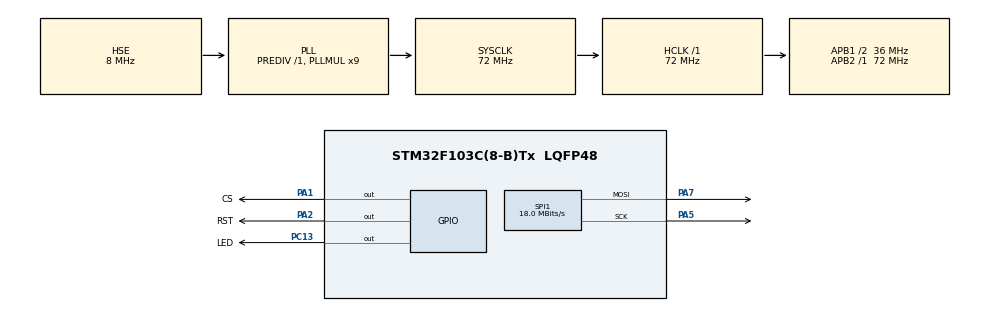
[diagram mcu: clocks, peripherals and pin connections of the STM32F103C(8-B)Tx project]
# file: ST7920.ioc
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Dma.Request0=SPI1_TX
Dma.SPI1_TX.0.Direction=DMA_MEMORY_TO_PERIPH
Dma.SPI1_TX.0.Instance=DMA1_Channel3
Dma.SPI1_TX.0.MemDataAlignment=DMA_MDATAALIGN_BYTE
Dma.SPI1_TX.0.MemInc=DMA_MINC_ENABLE
Dma.SPI1_TX.0.Mode=DMA_NORMAL
Dma.SPI1_TX.0.PeriphDataAlignment=DMA_PDATAALIGN_BYTE
Dma.SPI1_TX.0.PeriphInc=DMA_PINC_DISABLE
Dma.SPI1_TX.0.Priority=DMA_PRIORITY_VERY_HIGH
Mcu.Family=STM32F1
Mcu.Name=STM32F103C(8-B)Tx
Mcu.Package=LQFP48
NVIC.DMA1_Channel3_IRQn=true\:0\:0\:false\:false\:true\:false\:true
NVIC.PriorityGroup=NVIC_PRIORITYGROUP_4
NVIC.SPI1_IRQn=true\:0\:0\:false\:false\:true\:true\:true
NVIC.TIM1_UP_IRQn=true\:0\:0\:false\:false\:true\:true\:true
PA1.GPIO_Label=CS
PA1.Signal=GPIO_Output
PA13.Mode=Trace_Asynchronous_SW
PA13.Signal=SYS_JTMS-SWDIO
PA14.Mode=Trace_Asynchronous_SW
PA14.Signal=SYS_JTCK-SWCLK
PA2.GPIO_Label=RST
PA2.Signal=GPIO_Output
PA5.Mode=TX_Only_Simplex_Unidirect_Master
PA5.Signal=SPI1_SCK
PA7.Mode=TX_Only_Simplex_Unidirect_Master
PA7.Signal=SPI1_MOSI
PB3.Mode=Trace_Asynchronous_SW
PB3.Signal=SYS_JTDO-TRACESWO
PC13-TAMPER-RTC.GPIO_Label=LED
PC13-TAMPER-RTC.Signal=GPIO_Output
PD0-OSC_IN.Mode=HSE-External-Oscillator
PD0-OSC_IN.Signal=RCC_OSC_IN
PD1-OSC_OUT.Mode=HSE-External-Oscillator
PD1-OSC_OUT.Signal=RCC_OSC_OUT
ProjectManager.HeapSize=0x200
ProjectManager.StackSize=0x400
ProjectManager.TargetToolchain=STM32CubeIDE
RCC.AHBFreq_Value=72000000
RCC.APB1CLKDivider=RCC_HCLK_DIV2
RCC.APB1Freq_Value=36000000
RCC.APB1TimFreq_Value=72000000
RCC.APB2Freq_Value=72000000
RCC.APB2TimFreq_Value=72000000
RCC.HCLKFreq_Value=72000000
RCC.PLLMUL=RCC_PLL_MUL9
RCC.PLLSourceVirtual=RCC_PLLSOURCE_HSE
RCC.SYSCLKFreq_VALUE=72000000
RCC.SYSCLKSource=RCC_SYSCLKSOURCE_PLLCLK
RCC.USBFreq_Value=72000000
SPI1.BaudRatePrescaler=SPI_BAUDRATEPRESCALER_4
SPI1.CLKPhase=SPI_PHASE_2EDGE
SPI1.CLKPolarity=SPI_POLARITY_HIGH
SPI1.CalculateBaudRate=18.0 MBits/s
SPI1.Direction=SPI_DIRECTION_2LINES
SPI1.FirstBit=SPI_FIRSTBIT_MSB
SPI1.Mode=SPI_MODE_MASTER
SPI1.VirtualType=VM_MASTER
TIM1.Period=3000
TIM1.Prescaler=719
VP_TIM1_VS_ClockSourceINT.Mode=Internal
board=custom

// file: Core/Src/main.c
/* USER CODE BEGIN Header */
/**
 ******************************************************************************
 * @file           : main.c
 * @brief          : Main program body
 ******************************************************************************
 * @attention
 *
 * <h2><center>&copy; Copyright (c) 2020 STMicroelectronics.
 * All rights reserved.</center></h2>
 *
 * This software component is licensed by ST under BSD 3-Clause license,
 * the "License"; You may not use this file except in compliance with the
 * License. You may obtain a copy of the License at:
 *                        opensource.org/licenses/BSD-3-Clause
 *
 ******************************************************************************
 */
/* USER CODE END Header */
#include "main.h"

/* USER CODE BEGIN Includes */
#include <stdio.h>
#include <stdbool.h>
#include "ST7920_lib.h"

extern char tx_buffer[128];
extern uint8_t Frame_buffer[1024]; //Буфер кадра.
extern char solderingiron[1024]; //Демонстрационное Logo

bool flag_led = 0;
bool update = 1;

uint8_t page = 0;
uint32_t counter = 0;

const unsigned char photo[] = { 0xFF, 0xFF, 0xFF, 0xFF, 0xFF, 0xFF, 0xFF, 0xFF, 0xFF, 0xFF, 0xFF, 0xFF, 0xFB, 0xFF, 0xFF, 0xFF, 0xFD, 0xFD, 0x3D, 0x0F, 0x0F,
		0x07, 0x06, 0x07, 0x06, 0x07, 0x07, 0x07, 0x06, 0x07, 0x07, 0x03, 0x03, 0x03, 0x03, 0x03, 0x03, 0x03, 0x07, 0x07, 0x07, 0x07, 0x0F, 0x0F, 0x07, 0x0F,
		0x0F, 0x0F, 0x0F, 0x0F, 0x0F, 0x07, 0x07, 0x0F, 0x07, 0x07, 0x07, 0x07, 0x07, 0x07, 0x07, 0xF7, 0xFF, 0xFF, 0xFF, 0xFF, 0xFF, 0x7F, 0x1F, 0x0F, 0x07,
		0x03, 0x03, 0x01, 0x01, 0x00, 0x00, 0x00, 0x00, 0x00, 0x00, 0x00, 0x00, 0x00, 0x00, 0x00, 0x00, 0x00, 0x00, 0x00, 0x00, 0x00, 0x00, 0x00, 0x00, 0x02,
		0x8B, 0x87, 0x5B, 0xC2, 0xC7, 0x1F, 0x1F, 0x7F, 0xFF, 0xFF, 0xFF, 0xFF, 0xFF, 0xFF, 0xFF, 0xFF, 0xFE, 0xFE, 0xFC, 0xFC, 0xF8, 0xF0, 0xE0, 0xC0, 0x80,
		0x00, 0x00, 0x00, 0x00, 0x00, 0x00, 0x00, 0xFF, 0xFF, 0xFF, 0xFF, 0xFF, 0xFF, 0xFF, 0xFF, 0xFF, 0xFF, 0xFF, 0xFF, 0xFF, 0xFF, 0xFF, 0xFF, 0xFF, 0xFF,
		0x00, 0x00, 0x00, 0x00, 0x00, 0x00, 0x00, 0x00, 0x00, 0x00, 0x00, 0x00, 0x00, 0x00, 0x00, 0x00, 0x00, 0x00, 0x00, 0x00, 0x00, 0x00, 0x00, 0x00, 0x00,
		0x00, 0x80, 0x00, 0x00, 0x00, 0x80, 0x00, 0x00, 0x00, 0x00, 0x00, 0x00, 0x00, 0x00, 0x00, 0x00, 0x00, 0x00, 0x03, 0x07, 0x0F, 0x7F, 0xFF, 0x81, 0x00,
		0x00, 0x00, 0x00, 0x00, 0x00, 0x00, 0x00, 0x00, 0x80, 0x00, 0x80, 0x80, 0x80, 0xC0, 0x00, 0x60, 0xB0, 0x30, 0x68, 0xCC, 0xEC, 0xFE, 0xFE, 0xE6, 0xE3,
		0xD1, 0xD7, 0xB3, 0x33, 0x67, 0xFE, 0xF9, 0x07, 0x0F, 0x38, 0x04, 0x07, 0x03, 0x03, 0x07, 0x0F, 0xFF, 0xFF, 0xFF, 0xFF, 0xFF, 0xFF, 0xFF, 0xFF, 0xFF,
		0xFF, 0xFF, 0xFF, 0xFE, 0xFC, 0xF8, 0xC0, 0x80, 0x00, 0x0C, 0xFF, 0xFF, 0xFF, 0xFF, 0xFF, 0xFF, 0xFF, 0xFF, 0xFF, 0xFF, 0xFF, 0xFF, 0xFF, 0xFF, 0xFF,
		0xFF, 0xFF, 0xD7, 0x80, 0x80, 0x80, 0x80, 0x80, 0x80, 0x80, 0x80, 0x80, 0x80, 0x80, 0x80, 0xF8, 0xFC, 0xFE, 0xDE, 0x7E, 0x9F, 0x1F, 0x5F, 0x9E, 0x5E,
		0x3C, 0xF8, 0x70, 0x80, 0x80, 0x80, 0x80, 0x80, 0x83, 0x80, 0x81, 0xC2, 0xC2, 0xC0, 0xC1, 0xC1, 0xC1, 0x80, 0x80, 0x82, 0xE6, 0x80, 0xC0, 0xE0, 0xF0,
		0xF9, 0xFF, 0xFC, 0xFC, 0xF6, 0xFE, 0xFE, 0xF5, 0xF0, 0x85, 0xFD, 0xFD, 0xFF, 0xFF, 0xFF, 0x1F, 0x03, 0x03, 0x07, 0x0F, 0x1D, 0x3E, 0x3F, 0x3F, 0x7F,
		0x7F, 0x7F, 0x7F, 0x7F, 0x3F, 0x3F, 0x1F, 0x1F, 0x0F, 0x07, 0x00, 0x00, 0x00, 0x00, 0x00, 0x00, 0x00, 0x80, 0xE0, 0xFF, 0xFF, 0xFF, 0xFF, 0xFF, 0xFF,
		0xFF, 0xFF, 0xFF, 0xFF, 0xFF, 0xFF, 0xFF, 0xFF, 0xFF, 0xFF, 0xFF, 0xFF, 0xFE, 0xFF, 0xFF, 0xE7, 0x59, 0xD9, 0xA5, 0xBD, 0x54, 0x9A, 0x69, 0x93, 0xEF,
		0xDF, 0x3F, 0xFF, 0xFF, 0xFF, 0xFF, 0xFF, 0xFF, 0xFF, 0xFF, 0xFF, 0xFF, 0xFF, 0xFF, 0xFF, 0xFF, 0xFF, 0xFF, 0xE3, 0xDF, 0xAF, 0x02, 0x02, 0x94, 0xDD,
		0xAF, 0xAE, 0xA1, 0xBD, 0xDE, 0xCF, 0xFF, 0xFF, 0xFF, 0xFF, 0xFF, 0xFF, 0xFF, 0xFF, 0xFF, 0xFF, 0xFF, 0xFF, 0x1F, 0x1F, 0x1F, 0x3F, 0x3F, 0xFF, 0xFF,
		0xFF, 0xFF, 0xFF, 0xFF, 0xFF, 0xFF, 0xFF, 0xFF, 0xBF, 0x3F, 0x3F, 0x3E, 0x1C, 0x1F, 0x0F, 0x0F, 0x07, 0x03, 0x00, 0x00, 0x80, 0x80, 0x00, 0x80, 0x80,
		0xC0, 0xF0, 0x60, 0x20, 0x30, 0x20, 0x10, 0x10, 0xF0, 0xF0, 0x20, 0x00, 0x00, 0x00, 0x00, 0x00, 0x00, 0x00, 0x01, 0xFF, 0xFF, 0xFF, 0xFF, 0xFF, 0xFF,
		0xFF, 0xFF, 0xFF, 0xFF, 0xFF, 0xFF, 0xFF, 0xFF, 0xFF, 0xFF, 0xFF, 0xFF, 0xFF, 0xFF, 0xFF, 0xFF, 0xFF, 0xFF, 0xFF, 0xFF, 0x5E, 0x8B, 0x5D, 0x9F, 0x4A,
		0x9F, 0xAE, 0x5B, 0x4D, 0x2B, 0xBE, 0x4D, 0x5B, 0xAF, 0x4F, 0x1F, 0x3F, 0xFF, 0xFF, 0xFF, 0xFF, 0x3F, 0x0F, 0x07, 0x07, 0x07, 0x03, 0x07, 0x24, 0x12,
		0x7C, 0xDF, 0x79, 0xF3, 0xBB, 0xFB, 0xFF, 0xFF, 0xFF, 0xE3, 0xE9, 0xC1, 0x10, 0x7D, 0xBD, 0xBB, 0x1F, 0xAF, 0xDF, 0xBF, 0xBF, 0xFF, 0xFC, 0xF8, 0xFA,
		0xFD, 0xFF, 0xFF, 0xFF, 0xFF, 0x7F, 0x3F, 0xFF, 0xFF, 0xFF, 0xFF, 0xFF, 0xFE, 0xF0, 0xE0, 0x80, 0x80, 0x00, 0x80, 0x08, 0x14, 0x32, 0x11, 0x13, 0x11,
		0x01, 0x01, 0x01, 0x00, 0x00, 0x00, 0x00, 0x00, 0x00, 0x00, 0x01, 0x00, 0x00, 0x00, 0x00, 0x50, 0xE0, 0x69, 0xE6, 0xF8, 0x3E, 0x02, 0x01, 0x07, 0x1F,
		0x1F, 0x3F, 0x7F, 0xFF, 0xFF, 0xFF, 0xFF, 0xFF, 0xFF, 0xFF, 0xFF, 0xFF, 0xFF, 0xFF, 0xFF, 0xFF, 0xFF, 0xFF, 0xFF, 0xFF, 0xFF, 0x3F, 0x42, 0x92, 0x26,
		0xA9, 0x54, 0xDB, 0x20, 0x96, 0x49, 0xA4, 0x9A, 0x43, 0x94, 0x56, 0xA9, 0x20, 0x56, 0x95, 0x68, 0x49, 0x37, 0xE7, 0x00, 0x00, 0x00, 0x00, 0x00, 0x00,
		0x00, 0x00, 0x00, 0x84, 0x91, 0x83, 0xC6, 0x9F, 0xFA, 0x9B, 0xFF, 0x97, 0xFF, 0xE7, 0x88, 0xFC, 0xFF, 0xFD, 0xA6, 0x73, 0x73, 0x79, 0x7E, 0xFF, 0xFF,
		0xFB, 0x7F, 0x3F, 0x1F, 0x0F, 0x83, 0x00, 0xC4, 0xF8, 0xFE, 0xFF, 0xFF, 0xFF, 0xFF, 0xFF, 0xFF, 0xFF, 0xFF, 0xFF, 0xFF, 0xFF, 0xFE, 0xFC, 0xFC, 0xF8,
		0xF8, 0x60, 0xC0, 0x80, 0x80, 0x00, 0x80, 0x82, 0x81, 0xC1, 0xD0, 0xC0, 0xC0, 0xE0, 0xC0, 0x70, 0x70, 0x7C, 0x1E, 0x1E, 0x07, 0x01, 0x00, 0x00, 0x00,
		0x00, 0x00, 0x00, 0x00, 0x00, 0x00, 0xFD, 0xFF, 0xFF, 0xFF, 0xFF, 0xFF, 0xFF, 0xFF, 0xFF, 0xFF, 0xFF, 0xFF, 0xFF, 0xFF, 0xFF, 0xFF, 0xFF, 0xFF, 0xE0,
		0x1A, 0x69, 0x96, 0x49, 0xA6, 0x94, 0x2B, 0xA2, 0x55, 0xD4, 0x26, 0x89, 0x54, 0xA9, 0x56, 0x59, 0xA2, 0x55, 0x1A, 0xA5, 0x5A, 0x8A, 0x77, 0x00, 0x00,
		0x00, 0x00, 0x02, 0x02, 0x07, 0x8F, 0x3F, 0x3B, 0x7A, 0xD5, 0xEB, 0xF7, 0xFB, 0xFC, 0x7F, 0x7D, 0xFF, 0x7E, 0x7F, 0xFF, 0xFE, 0xFF, 0xFF, 0xF0, 0xFC,
		0xFC, 0xFD, 0xBB, 0xBB, 0xF7, 0x77, 0xF2, 0xF6, 0x8F, 0xDF, 0xFF, 0xFF, 0xFF, 0xFF, 0xFF, 0xFF, 0xFF, 0xFF, 0xFF, 0xFF, 0xFF, 0xFF, 0xFF, 0xFF, 0xFF,
		0xFF, 0xFF, 0xFF, 0xFF, 0xF8, 0xD0, 0x50, 0x81, 0x01, 0x01, 0x01, 0x01, 0x01, 0x01, 0x00, 0x01, 0x00, 0x00, 0x00, 0x00, 0x00, 0x00, 0x00, 0x00, 0x00,
		0x00, 0x00, 0x00, 0x00, 0x00, 0x00, 0x00, 0x00, 0x50, 0xFF, 0xFF, 0xFF, 0xFF, 0xFF, 0xFF, 0xFF, 0xFF, 0xFF, 0xFF, 0xFF, 0xFF, 0xFF, 0xFF, 0xFF, 0xFF,
		0xFF, 0xFF, 0xFF, 0xE2, 0x9A, 0x65, 0x6A, 0x95, 0x56, 0xA9, 0x54, 0xA9, 0xB9, 0x42, 0x99, 0x4A, 0x4A, 0x64, 0x9D, 0x41, 0x49, 0x54, 0xA5, 0x11, 0x8A,
		0x66, 0xC0, 0xE4, 0xF0, 0xF0, 0xF8, 0xF8, 0xF9, 0x7C, 0x7C, 0x5C, 0x7C, 0x7E, 0xFF, 0xFF, 0xFF, 0xFE, 0xFE, 0xFF, 0xFF, 0xFF, 0x7F, 0x3F, 0xBE, 0x7F,
		0xFF, 0xFF, 0xFF, 0xFF, 0xFF, 0xFF, 0x7F, 0xFF, 0xDF, 0xF7, 0xFF, 0xF7, 0xFF, 0xFF, 0xFF, 0xFF, 0xFF, 0xFF, 0xFF, 0xFF, 0xFF, 0xFF, 0xFF, 0xFF, 0xFF,
		0xFF, 0xFF, 0xFF, 0xFF, 0xFF, 0xFF, 0xFF, 0xFF, 0xFF, 0xFF, 0xFE, 0xFD, 0xFC, 0xF8, 0xF8, 0xF0, 0xE0, 0xE0, 0xC0, 0x80, 0x00, 0x00, 0x00, 0x00, 0x00,
		0x00, 0x00, 0x00, 0x00, 0x00, 0x00, 0x00, 0x00, 0x00, 0x00, 0x00, 0x15, 0xFF, 0xFF, 0xFF, 0xFF, 0xFF, 0xFF, 0xFF, 0xFF, 0xFF, 0xFF, 0xFF, 0xFF, 0xFF,
		0xFF, 0xFF, 0xFF };

float counter_float = 0;
unsigned long Time_page, Time_update, Time_counter;

/* USER CODE END Includes */

SPI_HandleTypeDef hspi1;
DMA_HandleTypeDef hdma_spi1_tx;

TIM_HandleTypeDef htim1;

void SystemClock_Config(void);
static void MX_GPIO_Init(void);
static void MX_DMA_Init(void);
static void MX_SPI1_Init(void);
static void MX_TIM1_Init(void);

/* USER CODE BEGIN 0 */

int _write(int file, uint8_t *ptr, int len) {

	for (int DataIdx = 0; DataIdx < len; DataIdx++) {
		ITM_SendChar(*ptr++);
	}
	return len;
}

/* USER CODE END 0 */

int main(void) {

	/* MCU Configuration--------------------------------------------------------*/

	/* Reset of all peripherals, Initializes the Flash interface and the Systick. */

	HAL_Init();

	/* Configure the system clock */
	SystemClock_Config();

	/* Initialize all configured peripherals */
	MX_GPIO_Init();
	MX_DMA_Init();
	MX_SPI1_Init();
	MX_TIM1_Init();
	/* USER CODE BEGIN 2 */
	//HAL_TIM_Base_Start_IT(&htim1);
	HAL_TIM_Base_Start_IT(&htim1);
	HAL_Delay(100);
	ST7920_Init();
	ST7920_Graphic_mode(1);
	ST7920_logo_demonstration();
	ST7920_Clean_Frame_buffer();
	ST7920_Update();
	ST7920_Inversion(0, 128);
	Time_page = HAL_GetTick();
	/* USER CODE END 2 */

	/* Infinite loop */
	while (1) {

		/* USER CODE BEGIN 3 */

		if (HAL_GetTick() - Time_counter > 50) {
			Time_counter = HAL_GetTick();
			counter++;
		}

		if (HAL_GetTick() - Time_page > 3000) {
			Time_page = HAL_GetTick();
			//ST7920_Clean();
			ST7920_Clean_Frame_buffer();
			ST7920_Inversion(0, 128);
			page++;
			if (page > 4) {
				page = 0;
			}
		}

		if (page == 0) {

			sprintf(tx_buffer, "Основное меню");
			ST7920_Decode_UTF8(25, 0, 1, tx_buffer);

			sprintf(tx_buffer, "Оплата программисту:");
			ST7920_Decode_UTF8(0, 2, 0, tx_buffer);
			sprintf(tx_buffer, "Счетчик:%ld руб.", counter);
			ST7920_Decode_UTF8(0, 4, 0, tx_buffer);
			update = 1;
		}

		else if (page == 1) {
			sprintf(tx_buffer, "Настройки");
			ST7920_Decode_UTF8(35, 0, 1, tx_buffer);

			sprintf(tx_buffer, ">Обогрев:вкл");
			ST7920_Decode_UTF8(0, 2, 0, tx_buffer);
			sprintf(tx_buffer, "Увлажнитель:вкл");
			ST7920_Decode_UTF8(0, 3, 0, tx_buffer);
			for (uint8_t i = 0; i < 128; i++) {
				ST7920_Draw_pixel(i, 40);
			}
			sprintf(tx_buffer, "Уст.температура:25°C");
			ST7920_Decode_UTF8(0, 6, 0, tx_buffer);
			sprintf(tx_buffer, "Уст.влажность:60%%");
			ST7920_Decode_UTF8(0, 7, 0, tx_buffer);
			update = 1;
		}

		else if (page == 2) {
			sprintf(tx_buffer, "Шрифт 5x7");
			ST7920_Decode_UTF8(35, 0, 1, tx_buffer);
			sprintf(tx_buffer, "Съешь ещё этих мягких");
			ST7920_Decode_UTF8(0, 2, 0, tx_buffer);
			sprintf(tx_buffer, "французских булок,");
			ST7920_Decode_UTF8(0, 3, 0, tx_buffer);
			sprintf(tx_buffer, "да выпей чаю.");
			ST7920_Decode_UTF8(0, 4, 0, tx_buffer);
			sprintf(tx_buffer, "1234567890");
			ST7920_Decode_UTF8(0, 5, 0, tx_buffer);
			update = 1;

		}

		else if (page == 3) {
			ST7920_Draw_bitmap(photo);
			update = 0;

		} else if (page == 4) {
			for (uint8_t i = 0; i < 10; i++) {
				ST7920_Clean_Frame_buffer();
				ST7920_Draw_line(0, 0, 127, 63);
				ST7920_Draw_line(0, 63, 127, 0);
				ST7920_Draw_rectangle(80, 5, 30, 20);
				ST7920_Draw_rectangle_filled(i, i, 50, 10);
				ST7920_Draw_circle(70 + i, 50, 10);
				ST7920_Draw_circle_filled(50, 25, 10 + i);
				ST7920_Draw_triangle(0, 63, 50 + i, 0, 127 - i, 20);
				ST7920_Draw_triangle_filled(40, 10 + i, 75, 20, 100, 40);
				ST7920_Update();
			}
			for (uint8_t i = 10; i > 0; i--) {
				ST7920_Clean_Frame_buffer();
				ST7920_Draw_line(0, 0, 127, 63);
				ST7920_Draw_line(0, 63, 127, 0);
				ST7920_Draw_rectangle(80, 5, 30, 20);
				ST7920_Draw_rectangle_filled(i, i, 50, 10);
				ST7920_Draw_circle(70 + i, 50, 10);
				ST7920_Draw_circle_filled(50, 25, 10 + i);
				ST7920_Draw_triangle(0, 63, 50 + i, 0, 127 - i, 20);
				ST7920_Draw_triangle_filled(40, 10 + i, 75, 20, 100, 40);
				ST7920_Update();
			}
			for (uint8_t i = 0; i < 20; i++) {
				ST7920_Clean_Frame_buffer();
				ST7920_Draw_line(0, 0, 127, 63);
				ST7920_Draw_line(0, 63, 127, 0);
				ST7920_Draw_rectangle(80, 5, 30, 20);
				ST7920_Draw_rectangle_filled(i, i, 50, 10);
				ST7920_Draw_circle(70 + i, 50, 10);
				ST7920_Draw_circle_filled(50, 25, 10 + i);
				ST7920_Draw_triangle(0, 63, 50 + i, 0, 127 - i, 20);
				ST7920_Draw_triangle_filled(40, 10 + i, 75, 20, 100, 40);
				ST7920_Update();
			}
			for (uint8_t i = 20; i > 0; i--) {
				ST7920_Clean_Frame_buffer();
				ST7920_Draw_line(0, 0, 127, 63);
				ST7920_Draw_line(0, 63, 127, 0);
				ST7920_Draw_rectangle(80, 5, 30, 20);
				ST7920_Draw_rectangle_filled(i, i, 50, 10);
				ST7920_Draw_circle(70 + i, 50, 10);
				ST7920_Draw_circle_filled(50, 25, 10 + i);
				ST7920_Draw_triangle(0, 63, 50 + i, 0, 127 - i, 20);
				ST7920_Draw_triangle_filled(40, 10 + i, 75, 20, 100, 40);
				ST7920_Update();
			}
		}

		if (HAL_GetTick() - Time_update >= 300) {
			Time_update = HAL_GetTick();
			if (update) {
				ST7920_Update();
			}
		}

	}
	/* USER CODE END 3 */
}

void SystemClock_Config(void) {
	RCC_OscInitTypeDef RCC_OscInitStruct = { 0 };
	RCC_ClkInitTypeDef RCC_ClkInitStruct = { 0 };

	/** Initializes the RCC Oscillators according to the specified parameters
	 * in the RCC_OscInitTypeDef structure.
	 */
	RCC_OscInitStruct.OscillatorType = RCC_OSCILLATORTYPE_HSE;
	RCC_OscInitStruct.HSEState = RCC_HSE_ON;
	RCC_OscInitStruct.HSEPredivValue = RCC_HSE_PREDIV_DIV1;
	RCC_OscInitStruct.HSIState = RCC_HSI_ON;
	RCC_OscInitStruct.PLL.PLLState = RCC_PLL_ON;
	RCC_OscInitStruct.PLL.PLLSource = RCC_PLLSOURCE_HSE;
	RCC_OscInitStruct.PLL.PLLMUL = RCC_PLL_MUL9;
	if (HAL_RCC_OscConfig(&RCC_OscInitStruct) != HAL_OK) {
		Error_Handler();
	}
	/** Initializes the CPU, AHB and APB buses clocks
	 */
	RCC_ClkInitStruct.ClockType = RCC_CLOCKTYPE_HCLK | RCC_CLOCKTYPE_SYSCLK | RCC_CLOCKTYPE_PCLK1 | RCC_CLOCKTYPE_PCLK2;
	RCC_ClkInitStruct.SYSCLKSource = RCC_SYSCLKSOURCE_PLLCLK;
	RCC_ClkInitStruct.AHBCLKDivider = RCC_SYSCLK_DIV1;
	RCC_ClkInitStruct.APB1CLKDivider = RCC_HCLK_DIV2;
	RCC_ClkInitStruct.APB2CLKDivider = RCC_HCLK_DIV1;

	if (HAL_RCC_ClockConfig(&RCC_ClkInitStruct, FLASH_LATENCY_2) != HAL_OK) {
		Error_Handler();
	}
}

static void MX_SPI1_Init(void) {

	/* SPI1 parameter configuration*/
	hspi1.Instance = SPI1;
	hspi1.Init.Mode = SPI_MODE_MASTER;
	hspi1.Init.Direction = SPI_DIRECTION_2LINES;
	hspi1.Init.DataSize = SPI_DATASIZE_8BIT;
	hspi1.Init.CLKPolarity = SPI_POLARITY_HIGH;
	hspi1.Init.CLKPhase = SPI_PHASE_2EDGE;
	hspi1.Init.NSS = SPI_NSS_SOFT;
	hspi1.Init.BaudRatePrescaler = SPI_BAUDRATEPRESCALER_4;
	hspi1.Init.FirstBit = SPI_FIRSTBIT_MSB;
	hspi1.Init.TIMode = SPI_TIMODE_DISABLE;
	hspi1.Init.CRCCalculation = SPI_CRCCALCULATION_DISABLE;
	hspi1.Init.CRCPolynomial = 10;
	if (HAL_SPI_Init(&hspi1) != HAL_OK) {
		Error_Handler();
	}

}

static void MX_TIM1_Init(void) {

	TIM_ClockConfigTypeDef sClockSourceConfig = { 0 };
	TIM_MasterConfigTypeDef sMasterConfig = { 0 };

	htim1.Instance = TIM1;
	htim1.Init.Prescaler = 719;
	htim1.Init.CounterMode = TIM_COUNTERMODE_UP;
	htim1.Init.Period = 3000;
	htim1.Init.ClockDivision = TIM_CLOCKDIVISION_DIV1;
	htim1.Init.RepetitionCounter = 0;
	htim1.Init.AutoReloadPreload = TIM_AUTORELOAD_PRELOAD_DISABLE;
	if (HAL_TIM_Base_Init(&htim1) != HAL_OK) {
		Error_Handler();
	}
	sClockSourceConfig.ClockSource = TIM_CLOCKSOURCE_INTERNAL;
	if (HAL_TIM_ConfigClockSource(&htim1, &sClockSourceConfig) != HAL_OK) {
		Error_Handler();
	}
	sMasterConfig.MasterOutputTrigger = TIM_TRGO_RESET;
	sMasterConfig.MasterSlaveMode = TIM_MASTERSLAVEMODE_DISABLE;
	if (HAL_TIMEx_MasterConfigSynchronization(&htim1, &sMasterConfig) != HAL_OK) {
		Error_Handler();
	}

}

static void MX_DMA_Init(void) {

	/* DMA controller clock enable */
	__HAL_RCC_DMA1_CLK_ENABLE();

	/* DMA interrupt init */
	/* DMA1_Channel3_IRQn interrupt configuration */
	HAL_NVIC_SetPriority(DMA1_Channel3_IRQn, 0, 0);
	HAL_NVIC_EnableIRQ(DMA1_Channel3_IRQn);

}

static void MX_GPIO_Init(void) {
	GPIO_InitTypeDef GPIO_InitStruct = { 0 };

	/* GPIO Ports Clock Enable */
	__HAL_RCC_GPIOC_CLK_ENABLE();
	__HAL_RCC_GPIOD_CLK_ENABLE();
	__HAL_RCC_GPIOA_CLK_ENABLE();
	__HAL_RCC_GPIOB_CLK_ENABLE();

	/*Configure GPIO pin Output Level */
	HAL_GPIO_WritePin(LED_GPIO_Port, LED_Pin, GPIO_PIN_RESET);

	/*Configure GPIO pin Output Level */
	HAL_GPIO_WritePin(GPIOA, CS_Pin | RST_Pin, GPIO_PIN_RESET);

	/*Configure GPIO pin : LED_Pin */
	GPIO_InitStruct.Pin = LED_Pin;
	GPIO_InitStruct.Mode = GPIO_MODE_OUTPUT_PP;
	GPIO_InitStruct.Pull = GPIO_NOPULL;
	GPIO_InitStruct.Speed = GPIO_SPEED_FREQ_LOW;
	HAL_GPIO_Init(LED_GPIO_Port, &GPIO_InitStruct);

	/*Configure GPIO pins : CS_Pin RST_Pin */
	GPIO_InitStruct.Pin = CS_Pin | RST_Pin;
	GPIO_InitStruct.Mode = GPIO_MODE_OUTPUT_PP;
	GPIO_InitStruct.Pull = GPIO_NOPULL;
	GPIO_InitStruct.Speed = GPIO_SPEED_FREQ_LOW;
	HAL_GPIO_Init(GPIOA, &GPIO_InitStruct);

}

void Error_Handler(void) {
	__disable_irq();
	while (1) {
	}
}

/************************ (C) COPYRIGHT STMicroelectronics *****END OF FILE****/
